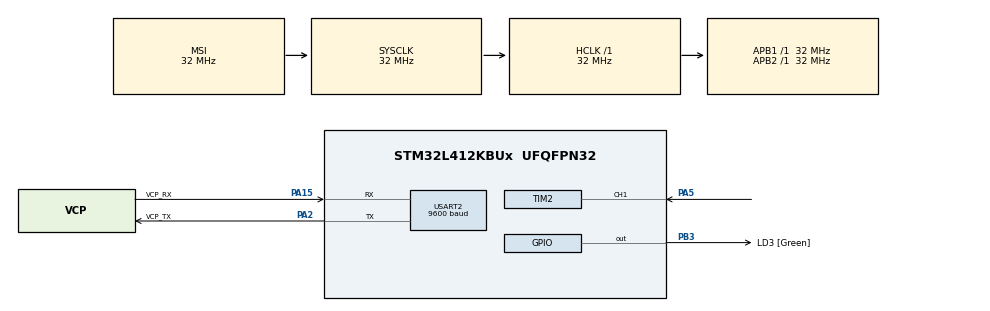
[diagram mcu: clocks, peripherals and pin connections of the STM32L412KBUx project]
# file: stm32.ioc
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ADC1.Channel-0\#ChannelRegularConversion=ADC_CHANNEL_VREFINT
ADC1.ClockPrescaler=ADC_CLOCK_ASYNC_DIV128
ADC1.ContinuousConvMode=ENABLE
ADC1.NbrOfConversionFlag=1
ADC1.OffsetNumber-0\#ChannelRegularConversion=ADC_OFFSET_NONE
ADC1.Rank-0\#ChannelRegularConversion=1
ADC1.SamplingTime-0\#ChannelRegularConversion=ADC_SAMPLETIME_2CYCLES_5
ADC1.master=1
Mcu.Family=STM32L4
Mcu.Name=STM32L412KBUx
Mcu.Package=UFQFPN32
NVIC.PriorityGroup=NVIC_PRIORITYGROUP_4
NVIC.RTC_Alarm_IRQn=true\:0\:0\:false\:false\:true\:true\:true
NVIC.TIM2_IRQn=true\:0\:0\:false\:false\:true\:true\:true
NVIC.USART2_IRQn=true\:0\:0\:false\:false\:true\:true\:true
PA0-CK_IN.Mode=HSE-External-Clock-Source-for-LittleOrca
PA0-CK_IN.Signal=RCC_CK_IN
PA13\ (JTMS/SWDIO).GPIO_Label=SWDIO
PA13\ (JTMS/SWDIO).Mode=Serial_Wire
PA13\ (JTMS/SWDIO).Signal=SYS_JTMS-SWDIO
PA14\ (JTCK/SWCLK).GPIO_Label=SWCLK
PA14\ (JTCK/SWCLK).Mode=Serial_Wire
PA14\ (JTCK/SWCLK).Signal=SYS_JTCK-SWCLK
PA15\ (JTDI).GPIO_Label=VCP_RX
PA15\ (JTDI).Mode=Asynchronous
PA15\ (JTDI).Signal=USART2_RX
PA2.GPIO_Label=VCP_TX
PA2.Mode=Asynchronous
PA2.Signal=USART2_TX
PA5.Signal=S_TIM2_CH1
PB3\ (JTDO/TRACESWO).GPIO_Label=LD3 [Green]
PB3\ (JTDO/TRACESWO).Signal=GPIO_Output
PC14-OSC32_IN\ (PC14).Mode=LSE-External-Oscillator
PC14-OSC32_IN\ (PC14).Signal=RCC_OSC32_IN
PC15-OSC32_OUT\ (PC15).Mode=LSE-External-Oscillator
PC15-OSC32_OUT\ (PC15).Signal=RCC_OSC32_OUT
ProjectManager.HeapSize=0x200
ProjectManager.StackSize=0x400
ProjectManager.TargetToolchain=Makefile
RCC.ADCFreq_Value=32000000
RCC.AHBFreq_Value=32000000
RCC.APB1Freq_Value=32000000
RCC.APB1TimFreq_Value=32000000
RCC.APB2Freq_Value=32000000
RCC.APB2TimFreq_Value=32000000
RCC.CortexFreq_Value=32000000
RCC.FLatency=FLASH_LATENCY_1
RCC.HCLKFreq_Value=32000000
RCC.HSE_VALUE=8000000
RCC.HSI48_VALUE=48000000
RCC.HSICalibrationValue=16
RCC.HSI_VALUE=16000000
RCC.LSE_Drive_Capability=RCC_LSEDRIVE_LOW
RCC.MSIClockRange=RCC_MSIRANGE_10
RCC.MSI_VALUE=32000000
RCC.SYSCLKFreq_VALUE=32000000
RCC.USBFreq_Value=32000000
RCC.VCOOutputFreq_Value=256000000
RTC.Alarm=RTC_ALARM_A
RTC.AlarmMaskDateWeekDay=RTC_ALARMMASK_DATEWEEKDAY
RTC.AlarmMaskHours=RTC_ALARMMASK_HOURS
RTC.AlarmMaskMinutes=RTC_ALARMMASK_MINUTES
RTC.Seconds_A=30
SH.S_TIM2_CH1.0=TIM2_CH1,Input_Capture1_from_TI1
TIM2.Channel-Input_Capture1_from_TI1=TIM_CHANNEL_1
USART2.BaudRate=9600
USART2.VirtualMode-Asynchronous=VM_ASYNC
VP_ADC1_TempSens_Input.Mode=IN-TempSens
VP_ADC1_Vref_Input.Mode=IN-Vrefint
VP_RTC_VS_RTC_Activate.Mode=RTC_Enabled
VP_RTC_VS_RTC_Alarm_A_Intern.Mode=Alarm A
VP_RTC_VS_RTC_Calendar.Mode=RTC_Calendar
VP_TIM2_VS_ClockSourceINT.Mode=Internal
board=NUCLEO-L412KB

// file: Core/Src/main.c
/* USER CODE BEGIN Header */
/**
  ******************************************************************************
  * @file           : main.c
  * @brief          : Main program body
  ******************************************************************************
  * @attention
  *
  * Copyright (c) 2022 STMicroelectronics.
  * All rights reserved.
  *
  * This software is licensed under terms that can be found in the LICENSE file
  * in the root directory of this software component.
  * If no LICENSE file comes with this software, it is provided AS-IS.
  *
  ******************************************************************************
  */
/* USER CODE END Header */
#include "main.h"

/* USER CODE BEGIN Includes */

#include "retarget/retarget.c"

/* USER CODE END Includes */

/* USER CODE BEGIN PD */
#define BUFFER_LENGTH RING_BUFFER_LENGTH

/* USER CODE END PD */

ADC_HandleTypeDef hadc1;

RTC_HandleTypeDef hrtc;

TIM_HandleTypeDef htim2;

UART_HandleTypeDef huart2;

/* USER CODE BEGIN PV */
RingBuffer ring;

uint8_t alarm_flag = 0; // 1min blink

// light sensor
volatile uint32_t period = 0;
volatile uint8_t timer_done = 0;

volatile flash_status_t fs;

/* USER CODE END PV */

void SystemClock_Config(void);
static void MX_GPIO_Init(void);
static void MX_USART2_UART_Init(void);
static void MX_RTC_Init(void);
static void MX_TIM2_Init(void);
static void MX_ADC1_Init(void);
/* USER CODE BEGIN PFP */
void HAL_TIM_IC_CaptureCallback(TIM_HandleTypeDef *htim);

/* USER CODE END PFP */

/* USER CODE BEGIN 0 */

void HAL_RTC_AlarmAEventCallback(RTC_HandleTypeDef *hrtc) {
  alarm_flag = 1;
}

/* timer input capture callback */
void HAL_TIM_IC_CaptureCallback(TIM_HandleTypeDef *htim){
  enum {EDGE1, EDGE2};
  static uint32_t state = EDGE1;
  static uint32_t last = 0;
  uint32_t next = 0;

  switch (htim->Channel){
  case HAL_TIM_ACTIVE_CHANNEL_1:
    next = htim->Instance->CCR1;
      switch(state){
      case EDGE1:
        last = next;
        state = EDGE2;
        break;
      case EDGE2:
        if(next>last){
          period = next - last;
        } else {
          period = htim->Instance->ARR - last + next;
        }

        state = EDGE1;
        HAL_TIM_IC_Stop_IT(&htim2, TIM_CHANNEL_1);
        timer_done = 1;
        break;
      default:
        state = EDGE1;
      }
    case HAL_TIM_ACTIVE_CHANNEL_2:
      break;
    case HAL_TIM_ACTIVE_CHANNEL_3:
      break;
    case HAL_TIM_ACTIVE_CHANNEL_4:
      break;
    case HAL_TIM_ACTIVE_CHANNEL_5:
      break;
    case HAL_TIM_ACTIVE_CHANNEL_6:
      break;
    case HAL_TIM_ACTIVE_CHANNEL_CLEARED:
      break;
    default:
      break;
  }
}
/* USER CODE END 0 */

int main(void)
{
  /* USER CODE BEGIN 1 */
  uint8_t ch;
  RingBuffer_Init(&ring); // init ringbuffer
  uint8_t buffer[BUFFER_LENGTH];
  uint8_t *buff = buffer;
  /* USER CODE END 1 */

  /* MCU Configuration--------------------------------------------------------*/

  /* Reset of all peripherals, Initializes the Flash interface and the Systick. */
  HAL_Init();

  /* USER CODE BEGIN Init */
  // Nucleo_BSP_Init();
  /* USER CODE END Init */

  /* Configure the system clock */
  SystemClock_Config();

  /* Initialize all configured peripherals */
  MX_GPIO_Init();
  MX_USART2_UART_Init();
  MX_RTC_Init();
  MX_TIM2_Init();
  MX_ADC1_Init();
  /* USER CODE BEGIN 2 */

  HAL_UART_MspInit(&huart2); // enable NVIC interrupts for USART2
  RetargetInit(&huart2); // redirect IO to the screen

  flash_write_init();

  printf("\r\nSystem Up and Running\n\r");
  prompt();

  /* USER CODE END 2 */

  /* USER CODE BEGIN WHILE */
  while (1)
  {
    // HAL_ADC_Start(&hadc1);
    if(RingBuffer_GetDataLength(&ring) != 0){ // buffer has data
      // read from buffer
      RingBuffer_Read(&ring, &ch, 1);
      if (ch == '\r') {
        printf("\n\r");
        (*buff) = '\0';
        // printf("%s\n\r",buffer);
        execute_command(buffer);
        buff = buffer;
        prompt();
      } else {
        putchar(ch); // print input character to screen
        *(buff) = ch;
        buff++;
      }
    }
    if (alarm_flag) {
      alarm_flag = 0;
      lon();
      HAL_Delay(100);
      lof();
    }
    /* USER CODE END WHILE */

  }
}

void SystemClock_Config(void)
{
  RCC_OscInitTypeDef RCC_OscInitStruct = {0};
  RCC_ClkInitTypeDef RCC_ClkInitStruct = {0};

  /** Configure the main internal regulator output voltage
  */
  if (HAL_PWREx_ControlVoltageScaling(PWR_REGULATOR_VOLTAGE_SCALE1) != HAL_OK)
  {
    Error_Handler();
  }
  /** Configure LSE Drive Capability
  */
  HAL_PWR_EnableBkUpAccess();
  __HAL_RCC_LSEDRIVE_CONFIG(RCC_LSEDRIVE_LOW);
  /** Initializes the RCC Oscillators according to the specified parameters
  * in the RCC_OscInitTypeDef structure.
  */
  RCC_OscInitStruct.OscillatorType = RCC_OSCILLATORTYPE_LSI|RCC_OSCILLATORTYPE_LSE
                              |RCC_OSCILLATORTYPE_MSI;
  RCC_OscInitStruct.LSEState = RCC_LSE_ON;
  RCC_OscInitStruct.LSIState = RCC_LSI_ON;
  RCC_OscInitStruct.MSIState = RCC_MSI_ON;
  RCC_OscInitStruct.MSICalibrationValue = 0;
  RCC_OscInitStruct.MSIClockRange = RCC_MSIRANGE_10;
  RCC_OscInitStruct.PLL.PLLState = RCC_PLL_NONE;
  if (HAL_RCC_OscConfig(&RCC_OscInitStruct) != HAL_OK)
  {
    Error_Handler();
  }
  /** Initializes the CPU, AHB and APB buses clocks
  */
  RCC_ClkInitStruct.ClockType = RCC_CLOCKTYPE_HCLK|RCC_CLOCKTYPE_SYSCLK
                              |RCC_CLOCKTYPE_PCLK1|RCC_CLOCKTYPE_PCLK2;
  RCC_ClkInitStruct.SYSCLKSource = RCC_SYSCLKSOURCE_MSI;
  RCC_ClkInitStruct.AHBCLKDivider = RCC_SYSCLK_DIV1;
  RCC_ClkInitStruct.APB1CLKDivider = RCC_HCLK_DIV1;
  RCC_ClkInitStruct.APB2CLKDivider = RCC_HCLK_DIV1;

  if (HAL_RCC_ClockConfig(&RCC_ClkInitStruct, FLASH_LATENCY_1) != HAL_OK)
  {
    Error_Handler();
  }
  /** Enable MSI Auto calibration
  */
  HAL_RCCEx_EnableMSIPLLMode();
}

static void MX_ADC1_Init(void)
{

  ADC_MultiModeTypeDef multimode = {0};
  ADC_ChannelConfTypeDef sConfig = {0};

  /** Common config
  */
  hadc1.Instance = ADC1;
  hadc1.Init.ClockPrescaler = ADC_CLOCK_ASYNC_DIV128;
  hadc1.Init.Resolution = ADC_RESOLUTION_12B;
  hadc1.Init.DataAlign = ADC_DATAALIGN_RIGHT;
  hadc1.Init.ScanConvMode = ADC_SCAN_DISABLE;
  hadc1.Init.EOCSelection = ADC_EOC_SINGLE_CONV;
  hadc1.Init.LowPowerAutoWait = DISABLE;
  hadc1.Init.ContinuousConvMode = ENABLE;
  hadc1.Init.NbrOfConversion = 1;
  hadc1.Init.DiscontinuousConvMode = DISABLE;
  hadc1.Init.ExternalTrigConv = ADC_SOFTWARE_START;
  hadc1.Init.ExternalTrigConvEdge = ADC_EXTERNALTRIGCONVEDGE_NONE;
  hadc1.Init.DMAContinuousRequests = DISABLE;
  hadc1.Init.Overrun = ADC_OVR_DATA_PRESERVED;
  hadc1.Init.OversamplingMode = DISABLE;
  if (HAL_ADC_Init(&hadc1) != HAL_OK)
  {
    Error_Handler();
  }
  /** Configure the ADC multi-mode
  */
  multimode.Mode = ADC_MODE_INDEPENDENT;
  if (HAL_ADCEx_MultiModeConfigChannel(&hadc1, &multimode) != HAL_OK)
  {
    Error_Handler();
  }
  /** Configure Regular Channel
  */
  sConfig.Channel = ADC_CHANNEL_VREFINT;
  sConfig.Rank = ADC_REGULAR_RANK_1;
  sConfig.SamplingTime = ADC_SAMPLETIME_2CYCLES_5;
  sConfig.SingleDiff = ADC_SINGLE_ENDED;
  sConfig.OffsetNumber = ADC_OFFSET_NONE;
  sConfig.Offset = 0;
  if (HAL_ADC_ConfigChannel(&hadc1, &sConfig) != HAL_OK)
  {
    Error_Handler();
  }

}

static void MX_RTC_Init(void)
{

  RTC_TimeTypeDef sTime = {0};
  RTC_DateTypeDef sDate = {0};
  RTC_AlarmTypeDef sAlarm = {0};

  /** Initialize RTC Only
  */
  hrtc.Instance = RTC;
  hrtc.Init.HourFormat = RTC_HOURFORMAT_24;
  hrtc.Init.AsynchPrediv = 127;
  hrtc.Init.SynchPrediv = 255;
  hrtc.Init.OutPut = RTC_OUTPUT_DISABLE;
  hrtc.Init.OutPutRemap = RTC_OUTPUT_REMAP_NONE;
  hrtc.Init.OutPutPolarity = RTC_OUTPUT_POLARITY_HIGH;
  hrtc.Init.OutPutType = RTC_OUTPUT_TYPE_OPENDRAIN;
  hrtc.Init.OutPutPullUp = RTC_OUTPUT_PULLUP_NONE;
  if (HAL_RTC_Init(&hrtc) != HAL_OK)
  {
    Error_Handler();
  }

  /** Initialize RTC and set the Time and Date
  */
  sTime.Hours = 0x0;
  sTime.Minutes = 0x0;
  sTime.Seconds = 0x0;
  sTime.DayLightSaving = RTC_DAYLIGHTSAVING_NONE;
  sTime.StoreOperation = RTC_STOREOPERATION_RESET;
  if (HAL_RTC_SetTime(&hrtc, &sTime, RTC_FORMAT_BCD) != HAL_OK)
  {
    Error_Handler();
  }
  sDate.WeekDay = RTC_WEEKDAY_MONDAY;
  sDate.Month = RTC_MONTH_JANUARY;
  sDate.Date = 0x1;
  sDate.Year = 0x0;

  if (HAL_RTC_SetDate(&hrtc, &sDate, RTC_FORMAT_BCD) != HAL_OK)
  {
    Error_Handler();
  }
  /** Enable the Alarm A
  */
  sAlarm.AlarmTime.Hours = 0x0;
  sAlarm.AlarmTime.Minutes = 0x0;
  sAlarm.AlarmTime.Seconds = 0x30;
  sAlarm.AlarmTime.SubSeconds = 0x0;
  sAlarm.AlarmTime.DayLightSaving = RTC_DAYLIGHTSAVING_NONE;
  sAlarm.AlarmTime.StoreOperation = RTC_STOREOPERATION_RESET;
  sAlarm.AlarmMask = RTC_ALARMMASK_DATEWEEKDAY|RTC_ALARMMASK_HOURS
                              |RTC_ALARMMASK_MINUTES;
  sAlarm.AlarmSubSecondMask = RTC_ALARMSUBSECONDMASK_ALL;
  sAlarm.AlarmDateWeekDaySel = RTC_ALARMDATEWEEKDAYSEL_DATE;
  sAlarm.AlarmDateWeekDay = 0x1;
  sAlarm.Alarm = RTC_ALARM_A;
  if (HAL_RTC_SetAlarm_IT(&hrtc, &sAlarm, RTC_FORMAT_BCD) != HAL_OK)
  {
    Error_Handler();
  }

}

static void MX_TIM2_Init(void)
{

  TIM_ClockConfigTypeDef sClockSourceConfig = {0};
  TIM_MasterConfigTypeDef sMasterConfig = {0};
  TIM_IC_InitTypeDef sConfigIC = {0};

  htim2.Instance = TIM2;
  htim2.Init.Prescaler = 0;
  htim2.Init.CounterMode = TIM_COUNTERMODE_UP;
  htim2.Init.Period = 4294967295;
  htim2.Init.ClockDivision = TIM_CLOCKDIVISION_DIV1;
  htim2.Init.AutoReloadPreload = TIM_AUTORELOAD_PRELOAD_DISABLE;
  if (HAL_TIM_Base_Init(&htim2) != HAL_OK)
  {
    Error_Handler();
  }
  sClockSourceConfig.ClockSource = TIM_CLOCKSOURCE_INTERNAL;
  if (HAL_TIM_ConfigClockSource(&htim2, &sClockSourceConfig) != HAL_OK)
  {
    Error_Handler();
  }
  if (HAL_TIM_IC_Init(&htim2) != HAL_OK)
  {
    Error_Handler();
  }
  sMasterConfig.MasterOutputTrigger = TIM_TRGO_RESET;
  sMasterConfig.MasterSlaveMode = TIM_MASTERSLAVEMODE_DISABLE;
  if (HAL_TIMEx_MasterConfigSynchronization(&htim2, &sMasterConfig) != HAL_OK)
  {
    Error_Handler();
  }
  sConfigIC.ICPolarity = TIM_INPUTCHANNELPOLARITY_RISING;
  sConfigIC.ICSelection = TIM_ICSELECTION_DIRECTTI;
  sConfigIC.ICPrescaler = TIM_ICPSC_DIV1;
  sConfigIC.ICFilter = 0;
  if (HAL_TIM_IC_ConfigChannel(&htim2, &sConfigIC, TIM_CHANNEL_1) != HAL_OK)
  {
    Error_Handler();
  }
  /* USER CODE BEGIN TIM2_Init 2 */
  HAL_TIM_Base_Start_IT(&htim2); // turn on irq in timer
  HAL_TIM_IC_Start_IT(&htim2, TIM_CHANNEL_1); // turn on irq for ch1 input capture

  /* USER CODE END TIM2_Init 2 */

}

static void MX_USART2_UART_Init(void)
{

  huart2.Instance = USART2;
  huart2.Init.BaudRate = 9600;
  huart2.Init.WordLength = UART_WORDLENGTH_8B;
  huart2.Init.StopBits = UART_STOPBITS_1;
  huart2.Init.Parity = UART_PARITY_NONE;
  huart2.Init.Mode = UART_MODE_TX_RX;
  huart2.Init.HwFlowCtl = UART_HWCONTROL_NONE;
  huart2.Init.OverSampling = UART_OVERSAMPLING_16;
  huart2.Init.OneBitSampling = UART_ONE_BIT_SAMPLE_DISABLE;
  huart2.AdvancedInit.AdvFeatureInit = UART_ADVFEATURE_NO_INIT;
  if (HAL_UART_Init(&huart2) != HAL_OK)
  {
    Error_Handler();
  }
  /* USER CODE BEGIN USART2_Init 2 */
  LL_USART_EnableIT_RXNE(USART2);
  /* USER CODE END USART2_Init 2 */

}

static void MX_GPIO_Init(void)
{
  GPIO_InitTypeDef GPIO_InitStruct = {0};

  /* GPIO Ports Clock Enable */
  __HAL_RCC_GPIOC_CLK_ENABLE();
  __HAL_RCC_GPIOA_CLK_ENABLE();
  __HAL_RCC_GPIOB_CLK_ENABLE();

  /*Configure GPIO pin Output Level */
  HAL_GPIO_WritePin(LD3_GPIO_Port, LD3_Pin, GPIO_PIN_RESET);

  /*Configure GPIO pin : LD3_Pin */
  GPIO_InitStruct.Pin = LD3_Pin;
  GPIO_InitStruct.Mode = GPIO_MODE_OUTPUT_PP;
  GPIO_InitStruct.Pull = GPIO_NOPULL;
  GPIO_InitStruct.Speed = GPIO_SPEED_FREQ_LOW;
  HAL_GPIO_Init(LD3_GPIO_Port, &GPIO_InitStruct);

}

void Error_Handler(void)
{
  __disable_irq();
  while (1)
  {
  }
}

#ifdef  USE_FULL_ASSERT
/**
  * @brief  Reports the name of the source file and the source line number
  *         where the assert_param error has occurred.
  * @param  file: pointer to the source file name
  * @param  line: assert_param error line source number
  * @retval None
  */
void assert_failed(uint8_t *file, uint32_t line)
{
  /* USER CODE BEGIN 6 */
  /* User can add his own implementation to report the file name and line number,
   *  eg: printf("Wrong parameters value: file %s on line %d\r\n", file, line) */
  /* USER CODE END 6 */
}
#endif /* USE_FULL_ASSERT */
